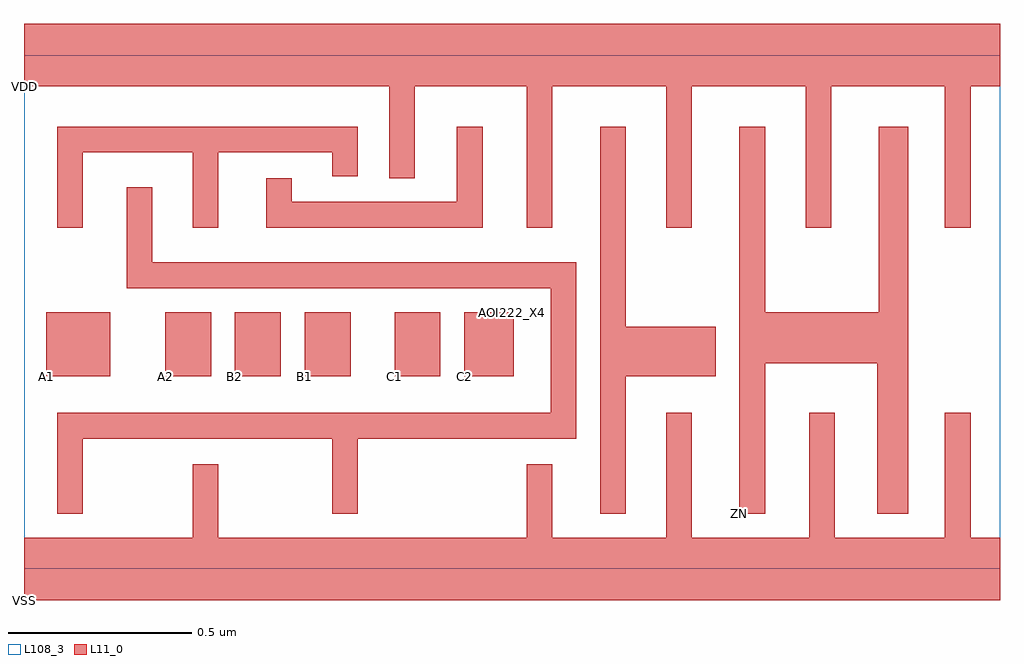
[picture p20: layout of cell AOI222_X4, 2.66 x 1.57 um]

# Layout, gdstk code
import gdstk
lib = gdstk.Library(unit=1e-6, precision=1e-09)
def R(c, l, rs):  # rectangles x0, y0, x1, y1
    for r in rs: c.add(gdstk.rectangle(r[:2], r[2:], *l))
def A(c, l, x, y, w, h, nx, ny, dx, dy):  # array of equal rectangles
    R(c, l, [(x+i*dx, y+j*dy, x+i*dx+w, y+j*dy+h) for i in range(nx) for j in range(ny)])
def P(c, l, *ps):  # polygons
    for p in ps: c.add(gdstk.Polygon(p, *l))
L11_0 = (11, 0)
L108_3 = (108, 3)

aoi222_x4 = lib.new_cell('AOI222_X4')
A(aoi222_x4, L11_0, 0.385, 0.525, 0.125, 0.175, 3, 1, 0.19, 0)
R(aoi222_x4, L11_0, [(0.06,0.525,0.235,0.7), (1.01,0.525,1.135,0.7), (1.2,0.525,1.335,0.7)])
P(aoi222_x4, L11_0, [(1.95,0.15),(2.02,0.15),(2.02,0.56),(2.325,0.56),(2.325,0.15),(2.41,0.15),(2.41,1.205),(2.33,1.205),(2.33,0.7),(2.02,0.7),(2.02,1.205),(1.95,1.205)],
  [(0,1.315),(0.91,1.315),(0.995,1.315),(0.995,1.065),(1.065,1.065),(1.065,1.315),(1.25,1.315),(1.37,1.315),(1.37,0.93),(1.44,0.93),(1.44,1.315),(1.505,1.315),(1.75,1.315),(1.75,0.93),(1.82,0.93),(1.82,1.315),(1.885,1.315),(2.13,1.315),(2.13,0.93),(2.2,0.93),(2.2,1.315),(2.51,1.315),(2.51,0.93),(2.58,0.93),(2.58,1.315),(2.66,1.315),(2.66,1.485),(1.885,1.485),(1.505,1.485),(1.25,1.485),(0.91,1.485),(0,1.485)],
  [(0,-0.085),(2.66,-0.085),(2.66,0.085),(2.58,0.085),(2.58,0.425),(2.51,0.425),(2.51,0.085),(2.21,0.085),(2.21,0.425),(2.14,0.425),(2.14,0.085),(1.82,0.085),(1.82,0.425),(1.75,0.425),(1.75,0.085),(1.44,0.085),(1.44,0.285),(1.37,0.285),(1.37,0.085),(0.53,0.085),(0.53,0.285),(0.46,0.285),(0.46,0.085),(0,0.085)],
  [(0.09,0.93),(0.16,0.93),(0.16,1.135),(0.46,1.135),(0.46,0.93),(0.53,0.93),(0.53,1.135),(0.84,1.135),(0.84,1.07),(0.91,1.07),(0.91,1.205),(0.09,1.205)],
  [(0.66,0.93),(1.25,0.93),(1.25,1.205),(1.18,1.205),(1.18,1),(0.73,1),(0.73,1.065),(0.66,1.065)],
  [(0.28,0.765),(1.435,0.765),(1.435,0.425),(0.09,0.425),(0.09,0.15),(0.16,0.15),(0.16,0.355),(0.84,0.355),(0.84,0.15),(0.91,0.15),(0.91,0.355),(1.505,0.355),(1.505,0.835),(0.35,0.835),(0.35,1.04),(0.28,1.04)],
  [(1.57,0.15),(1.64,0.15),(1.64,0.525),(1.885,0.525),(1.885,0.66),(1.64,0.66),(1.64,1.205),(1.57,1.205)])
R(aoi222_x4, L108_3, [(0,0,2.66,1.4)])
aoi222_x4.add(gdstk.Label('AOI222_X4', (1.33,0.7), layer=108, texttype=3))
aoi222_x4.add(gdstk.Label('A1', (0.06,0.525), layer=11, texttype=0))
aoi222_x4.add(gdstk.Label('A2', (0.385,0.525), layer=11, texttype=0))
aoi222_x4.add(gdstk.Label('B1', (0.765,0.525), layer=11, texttype=0))
aoi222_x4.add(gdstk.Label('B2', (0.575,0.525), layer=11, texttype=0))
aoi222_x4.add(gdstk.Label('C1', (1.01,0.525), layer=11, texttype=0))
aoi222_x4.add(gdstk.Label('C2', (1.2,0.525), layer=11, texttype=0))
aoi222_x4.add(gdstk.Label('ZN', (1.95,0.15), layer=11, texttype=0))
aoi222_x4.add(gdstk.Label('VDD', (0,1.315), layer=11, texttype=0))
aoi222_x4.add(gdstk.Label('VSS', (0,-0.085), layer=11, texttype=0))

lib.write_gds('AOI222_X4.gds')
